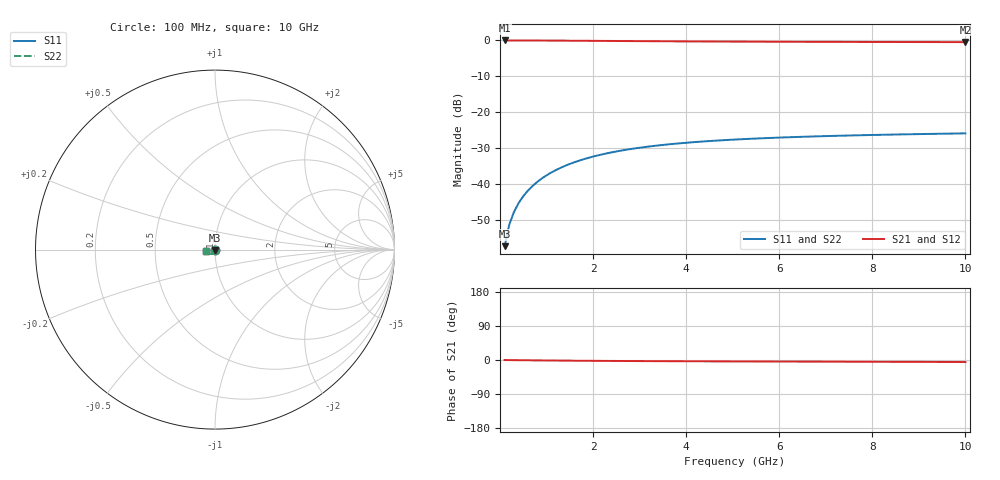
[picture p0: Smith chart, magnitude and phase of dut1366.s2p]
! Touchstone file exported from HFSS 2024.1.0
!  File:  C:/UserFiles/LocalFiles/RDL_TSV_Batchsim/temp_TSV1_1366_1780378559.aedt
!  Generated:  01:43:03 PM Jun  2, 2026
!  Design:  TSV1
!  Project:  temp_TSV1_1366_1780378559
!  Setup:  Setup1
!  Solution:  Sweep
! Variables:
!  dtsv = 10.55um
!  hbump = 3um
!  htsv = 83.38um
!  lrdl = 252.1521522um
!  p = 40
!  p1 = 46.71um
!  t = 500um
!  trdl = 3um
!  wrdl = 24.89489489um
# GHz S MA R 50.000000
! Terminal data exported
! Port[1] = TSV22_T1
! Port[2] = TSV22_T2
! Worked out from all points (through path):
!   100 points, 100 MHz to 10 GHz, reference 50 ohm
!   highest |S21| = 0.00 dB at 100 MHz (marker M1); lowest = -0.5 dB at 10 GHz (marker M2)
!   lowest |S11| = -57.3 dB at 100 MHz (marker M3), VSWR 1.00, Z = 50 - j0.136 ohm
!   |S11| at or under -10 dB: start of sweep to end of sweep
!   |S22| runs from -57.3 to -25.9 dB; largest |S21 - S12| = 4.2e-15
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0.1  0.001359 -86.0  0.9998 -0.1  0.9998 -0.1  0.001359 -86.0
! Gamma 0 0 0 0
! Port Impedance 50 0 50 0
0.2  0.002709 -90.3  0.9997 -0.3  0.9997 -0.3  0.002709 -90.3
0.3  0.00406 -92.8  0.9995 -0.4  0.9995 -0.4  0.00406 -92.8
0.4  0.005407 -95.0  0.9992 -0.5  0.9992 -0.5  0.005407 -95.0
0.5  0.006746 -96.9  0.9988 -0.6  0.9988 -0.6  0.006746 -96.9
0.6  0.008071 -98.7  0.9984 -0.8  0.9984 -0.8  0.008071 -98.7
0.7  0.009381 -100.5  0.9979 -0.9  0.9979 -0.9  0.009381 -100.5
0.8  0.01067 -102.2  0.9973 -1.0  0.9973 -1.0  0.01067 -102.2
0.9  0.01194 -103.9  0.9967 -1.1  0.9967 -1.1  0.01194 -103.9
1.1  0.0144 -107.2  0.9953 -1.3  0.9953 -1.3  0.0144 -107.2
1.4  0.0179 -111.9  0.9929 -1.6  0.9929 -1.6  0.0179 -111.9
1.6  0.02008 -114.9  0.9912 -1.8  0.9912 -1.8  0.02008 -114.9
1.8  0.02214 -117.7  0.9894 -2.0  0.9894 -2.0  0.02214 -117.7
2.1  0.02499 -121.8  0.9866 -2.3  0.9866 -2.3  0.02499 -121.8
2.5  0.02837 -126.8  0.9828 -2.5  0.9828 -2.5  0.02837 -126.8
2.9  0.03131 -131.3  0.9792 -2.8  0.9792 -2.8  0.03131 -131.3
3.4  0.03444 -136.4  0.9749 -3.1  0.9749 -3.1  0.03444 -136.4
4.2  0.03841 -143.4  0.969 -3.4  0.969 -3.4  0.03841 -143.4
5.1  0.04176 -150.0  0.9636 -3.7  0.9636 -3.7  0.04176 -150.0
6.7  0.04587 -159.4  0.9566 -4.3  0.9566 -4.3  0.04587 -159.4
8.4  0.04875 -167.1  0.9516 -4.8  0.9516 -4.8  0.04875 -167.1
10  0.05071 -173.2  0.9484 -5.3  0.9484 -5.3  0.05071 -173.2
